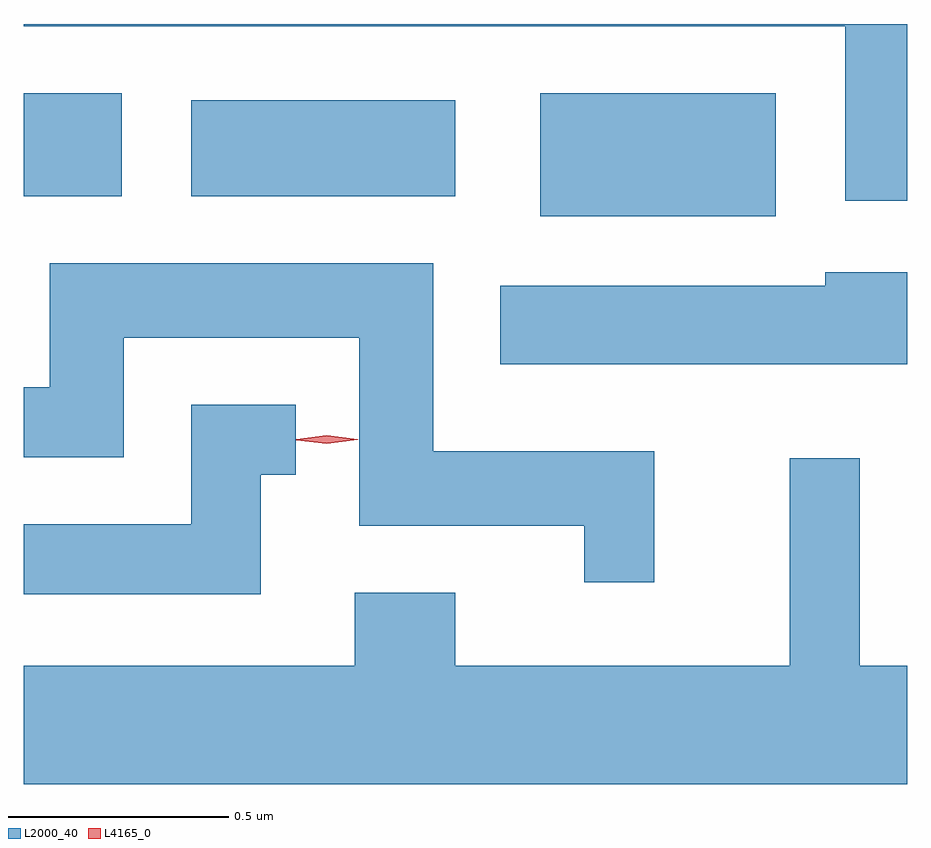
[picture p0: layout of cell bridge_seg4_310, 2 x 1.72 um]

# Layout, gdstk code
import gdstk
lib = gdstk.Library(unit=1e-6, precision=1e-09)
def R(c, l, rs):  # rectangles x0, y0, x1, y1
    for r in rs: c.add(gdstk.rectangle(r[:2], r[2:], *l))
def P(c, l, *ps):  # polygons
    for p in ps: c.add(gdstk.Polygon(p, *l))
L2000_40 = (2000, 40)
L4165_0 = (4165, 0)

bridge_seg4_310 = lib.new_cell('bridge_seg4_310')
R(bridge_seg4_310, L2000_40, [(544.291,1302.681,544.824,1302.959), (543.122,1302.726,543.344,1302.959), (543.501,1302.726,544.099,1302.944)])
P(bridge_seg4_310, L2000_40, [(545.122,1303.116),(543.122,1303.116),(543.122,1303.111),(544.981,1303.111),(544.981,1302.716),(545.122,1302.716)],
  [(544.549,1302.149),(544.049,1302.149),(544.049,1302.574),(543.181,1302.574),(543.181,1302.294),(543.122,1302.294),(543.122,1302.136),(543.349,1302.136),(543.349,1302.406),(543.881,1302.406),(543.881,1301.981),(544.391,1301.981),(544.391,1301.853),(544.549,1301.853)],
  [(545.122,1302.554),(544.936,1302.554),(544.936,1302.524),(544.201,1302.524),(544.201,1302.346),(545.122,1302.346)],
  [(543.659,1302.096),(543.738,1302.096),(543.738,1302.254),(543.501,1302.254),(543.501,1301.984),(543.122,1301.984),(543.122,1301.826),(543.659,1301.826)],
  [(545.122,1301.664),(545.014,1301.664),(545.014,1302.133),(544.856,1302.133),(544.856,1301.664),(544.099,1301.664),(544.099,1301.829),(543.871,1301.829),(543.871,1301.664),(543.122,1301.664),(543.122,1301.396),(545.122,1301.396)])
P(bridge_seg4_310, L4165_0, [(543.808,1302.166),(543.739,1302.174),(543.739,1302.175),(543.739,1302.176),(543.808,1302.185),(543.878,1302.176),(543.878,1302.176),(543.878,1302.175)])

lib.write_gds('bridge_seg4_310.gds')
